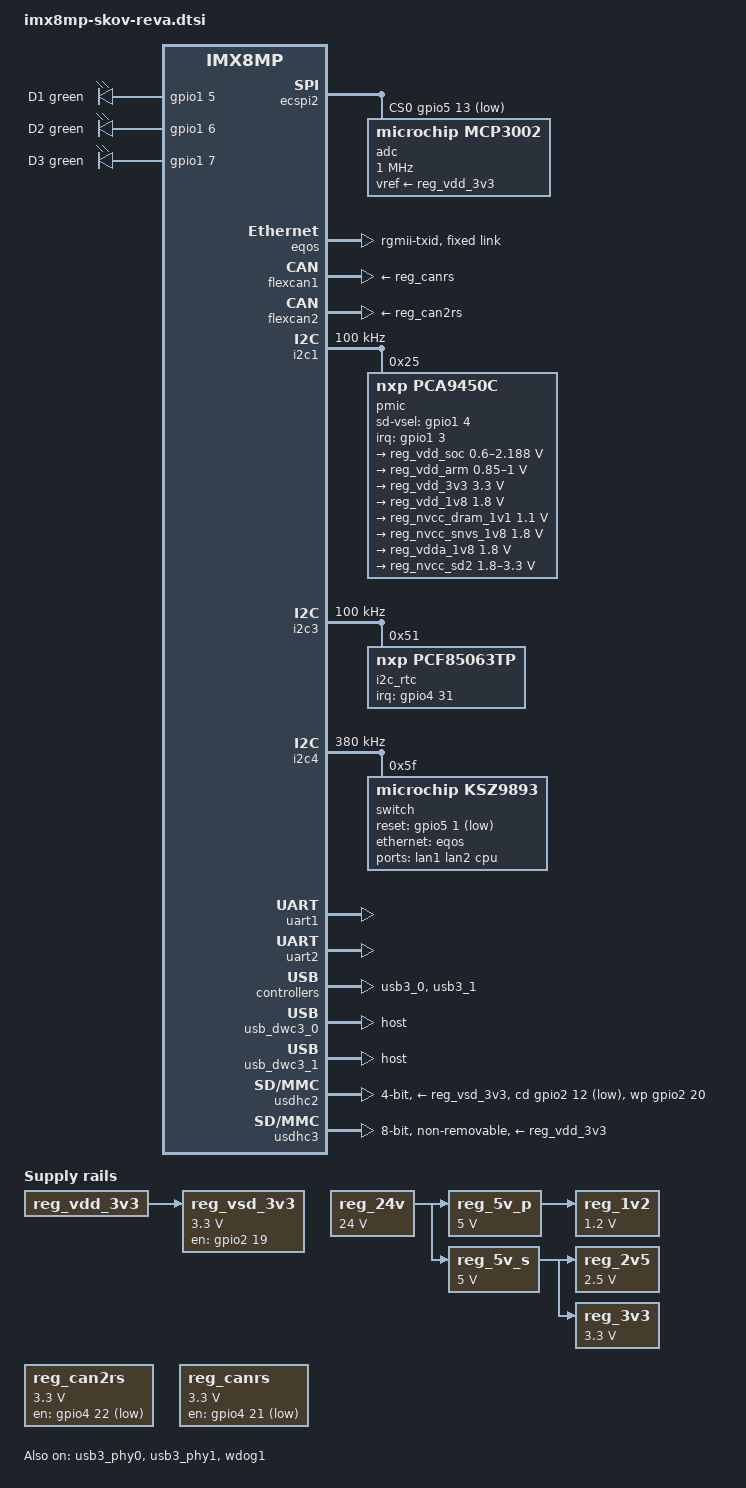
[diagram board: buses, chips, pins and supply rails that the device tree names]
// SPDX-License-Identifier: (GPL-2.0 OR MIT)

#include "imx8mp.dtsi"

#include <dt-bindings/leds/common.h>

/ {
	aliases {
		/* some of this aliases like backlight0, ethernetX and switch0
		 * are needed for the bootloader.
		 */
		backlight0 = &backlight;
		ethernet0 = &eqos;
		ethernet1 = &lan1;
		ethernet2 = &lan2;
		rtc0 = &i2c_rtc;
		rtc1 = &snvs_rtc;
		switch0 = &switch;
	};

	/*
	 * Backlight is present only on some of boards, so it is disabled by
	 * default.
	 */
	backlight: backlight {
		compatible = "pwm-backlight";
		pinctrl-0 = <&pinctrl_backlight>;
		pwms = <&pwm1 0 20000 0>;
		power-supply = <&reg_24v>;
		enable-gpios = <&gpio4 24 GPIO_ACTIVE_HIGH>;
		brightness-levels = <0 255>;
		num-interpolated-steps = <17>;
		default-brightness-level = <8>;
		status = "disabled";
	};

	leds {
		compatible = "gpio-leds";
		pinctrl-names = "default";
		pinctrl-0 = <&pinctrl_gpio_led>;

		led-0 {
			label = "D1";
			color = <LED_COLOR_ID_GREEN>;
			gpios = <&gpio1 5 GPIO_ACTIVE_HIGH>;
			function = LED_FUNCTION_STATUS;
			default-state = "on";
			linux,default-trigger = "heartbeat";
		};

		led-1 {
			label = "D2";
			color = <LED_COLOR_ID_GREEN>;
			gpios = <&gpio1 6 GPIO_ACTIVE_HIGH>;
			default-state = "off";
		};

		led-2 {
			label = "D3";
			color = <LED_COLOR_ID_GREEN>;
			gpios = <&gpio1 7 GPIO_ACTIVE_HIGH>;
			default-state = "on";
		};
	};

	reg_1v2: regulator-1v2 {
		compatible = "regulator-fixed";
		vin-supply = <&reg_5v_p>;
		regulator-name = "1V2";
		regulator-min-microvolt = <1200000>;
		regulator-max-microvolt = <1200000>;
	};

	reg_2v5: regulator-2v5 {
		compatible = "regulator-fixed";
		vin-supply = <&reg_5v_s>;
		regulator-name = "2V5";
		regulator-min-microvolt = <2500000>;
		regulator-max-microvolt = <2500000>;
	};

	reg_3v3: regulator-3v3 {
		compatible = "regulator-fixed";
		vin-supply = <&reg_5v_s>;
		regulator-name = "3V3";
		regulator-min-microvolt = <3300000>;
		regulator-max-microvolt = <3300000>;
	};

	/*
	 * This regulator will provide power as long as possible even if
	 * undervoltage is detected.
	 */
	reg_5v_p: regulator-5v-p {
		compatible = "regulator-fixed";
		regulator-name = "5V_P";
		vin-supply = <&reg_24v>;
		regulator-min-microvolt = <5000000>;
		regulator-max-microvolt = <5000000>;
	};

	/*
	 * This regulator will be automatically shutdown if undervoltage is
	 * detected.
	 */
	reg_5v_s: regulator-5v-s {
		compatible = "regulator-fixed";
		regulator-name = "5V_S";
		vin-supply = <&reg_24v>;
		regulator-min-microvolt = <5000000>;
		regulator-max-microvolt = <5000000>;
	};

	reg_24v: regulator-24v {
		compatible = "regulator-fixed";
		regulator-name = "24V";
		regulator-min-microvolt = <24000000>;
		regulator-max-microvolt = <24000000>;
	};

	reg_can2rs: regulator-can2rs {
		compatible = "regulator-fixed";
		regulator-name = "CAN2RS";
		pinctrl-names = "default";
		pinctrl-0 = <&pinctrl_can2rs>;
		regulator-min-microvolt = <3300000>;
		regulator-max-microvolt = <3300000>;
		gpio = <&gpio4 22 GPIO_ACTIVE_LOW>;
	};

	reg_canrs: regulator-canrs {
		compatible = "regulator-fixed";
		regulator-name = "CANRS";
		pinctrl-names = "default";
		pinctrl-0 = <&pinctrl_canrs>;
		regulator-min-microvolt = <3300000>;
		regulator-max-microvolt = <3300000>;
		gpio = <&gpio4 21 GPIO_ACTIVE_LOW>;
	};

	reg_tft_vcom: regulator-tft-vcom {
		compatible = "pwm-regulator";
		pwms = <&pwm4 0 20000 0>;
		regulator-name = "VCOM";
		vin-supply = <&reg_5v_s>;
		regulator-min-microvolt = <3600000>;
		regulator-max-microvolt = <3600000>;
		regulator-always-on;
		voltage-table = <3600000 26>;
		status = "disabled";
	};

	reg_vsd_3v3: regulator-vsd-3v3 {
		pinctrl-names = "default";
		pinctrl-0 = <&pinctrl_reg_vsd_3v3>;
		vin-supply = <&reg_vdd_3v3>;
		compatible = "regulator-fixed";
		regulator-name = "VSD_3V3";
		regulator-min-microvolt = <3300000>;
		regulator-max-microvolt = <3300000>;
		gpio = <&gpio2 19 GPIO_ACTIVE_HIGH>;
		enable-active-high;
	};
};

&A53_0 {
	cpu-supply = <&reg_vdd_arm>;
};

&A53_1 {
	cpu-supply = <&reg_vdd_arm>;
};

&A53_2 {
	cpu-supply = <&reg_vdd_arm>;
};

&A53_3 {
	cpu-supply = <&reg_vdd_arm>;
};

&ecspi2 {
	pinctrl-names = "default";
	pinctrl-0 = <&pinctrl_ecspi2>;
	cs-gpios = <&gpio5 13 GPIO_ACTIVE_LOW>;
	status = "okay";

	adc: adc@0 {
		compatible = "microchip,mcp3002";
		reg = <0>;
		vref-supply = <&reg_vdd_3v3>;
		spi-max-frequency = <1000000>;
		#io-channel-cells = <1>;
	};
};

&eqos {
	pinctrl-names = "default";
	pinctrl-0 = <&pinctrl_eqos>;
	phy-mode = "rgmii-txid";
	status = "okay";

	fixed-link {
		speed = <1000>;
		full-duplex;
	};
};

&flexcan1 {
	pinctrl-names = "default";
	pinctrl-0 = <&pinctrl_flexcan1>;
	xceiver-supply = <&reg_canrs>;
	status = "okay";
};

&flexcan2 {
	pinctrl-names = "default";
	pinctrl-0 = <&pinctrl_flexcan2>;
	xceiver-supply = <&reg_can2rs>;
	status = "okay";
};

&i2c1 {
	clock-frequency = <100000>;
	pinctrl-names = "default";
	pinctrl-0 = <&pinctrl_i2c1>;
	status = "okay";

	pmic@25 {
		compatible = "nxp,pca9450c";
		reg = <0x25>;
		pinctrl-names = "default";
		pinctrl-0 = <&pinctrl_pmic>;
		interrupts-extended = <&gpio1 3 IRQ_TYPE_EDGE_RISING>;
		sd-vsel-gpios = <&gpio1 4 GPIO_ACTIVE_HIGH>;

		regulators {
			reg_vdd_soc: BUCK1 {
				regulator-name = "VDD_SOC";
				regulator-min-microvolt = <600000>;
				regulator-max-microvolt = <2187500>;
				vin-supply = <&reg_5v_p>;
				regulator-boot-on;
				regulator-always-on;
				regulator-ramp-delay = <3125>;
			};

			reg_vdd_arm: BUCK2 {
				regulator-name = "VDD_ARM";
				regulator-min-microvolt = <850000>;
				regulator-max-microvolt = <1000000>;
				vin-supply = <&reg_5v_p>;
				regulator-boot-on;
				regulator-always-on;
				regulator-ramp-delay = <3125>;
				nxp,dvs-run-voltage = <950000>;
				nxp,dvs-standby-voltage = <850000>;
			};

			reg_vdd_3v3: BUCK4 {
				regulator-name = "VDD_3V3";
				regulator-min-microvolt = <3300000>;
				regulator-max-microvolt = <3300000>;
				vin-supply = <&reg_5v_p>;
				regulator-boot-on;
				regulator-always-on;
			};

			reg_vdd_1v8: BUCK5 {
				regulator-name = "VDD_1V8";
				regulator-min-microvolt = <1800000>;
				regulator-max-microvolt = <1800000>;
				vin-supply = <&reg_5v_p>;
				regulator-boot-on;
				regulator-always-on;
			};

			reg_nvcc_dram_1v1: BUCK6 {
				regulator-name = "NVCC_DRAM_1V1";
				regulator-min-microvolt = <1100000>;
				regulator-max-microvolt = <1100000>;
				vin-supply = <&reg_5v_p>;
				regulator-boot-on;
				regulator-always-on;
			};

			reg_nvcc_snvs_1v8: LDO1 {
				regulator-name = "NVCC_SNVS_1V8";
				regulator-min-microvolt = <1800000>;
				regulator-max-microvolt = <1800000>;
				vin-supply = <&reg_5v_p>;
				regulator-boot-on;
				regulator-always-on;
			};

			reg_vdda_1v8: LDO3 {
				regulator-name = "VDDA_1V8";
				regulator-min-microvolt = <1800000>;
				regulator-max-microvolt = <1800000>;
				vin-supply = <&reg_5v_p>;
				regulator-boot-on;
				regulator-always-on;
			};

			reg_nvcc_sd2: LDO5 {
				regulator-name = "NVCC_SD2";
				regulator-min-microvolt = <1800000>;
				regulator-max-microvolt = <3300000>;
				vin-supply = <&reg_5v_p>;
				regulator-boot-on;
				regulator-always-on;
			};
		};
	};
};

&i2c3 {
	clock-frequency = <100000>;
	pinctrl-names = "default";
	pinctrl-0 = <&pinctrl_i2c3>;
	status = "okay";

	i2c_rtc: rtc@51 {
		compatible = "nxp,pcf85063tp";
		reg = <0x51>;
		pinctrl-names = "default";
		pinctrl-0 = <&pinctrl_rtc>;
		interrupts-extended = <&gpio4 31 IRQ_TYPE_EDGE_FALLING>;
		quartz-load-femtofarads = <12500>;
	};
};

&i2c4 {
	clock-frequency = <380000>;
	pinctrl-names = "default";
	pinctrl-0 = <&pinctrl_i2c4>;
	status = "okay";

	switch: switch@5f {
		compatible = "microchip,ksz9893";
		pinctrl-names = "default";
		pinctrl-0 = <&pinctrl_switch>;
		reset-gpios = <&gpio5 1 GPIO_ACTIVE_LOW>;
		reg = <0x5f>;

		ethernet-ports {
			#address-cells = <1>;
			#size-cells = <0>;

			lan1: port@0 {
				reg = <0>;
				phy-mode = "internal";
				label = "lan1";
			};

			lan2: port@1 {
				reg = <1>;
				phy-mode = "internal";
				label = "lan2";
			};

			port@2 {
				reg = <2>;
				label = "cpu";
				ethernet = <&eqos>;
				phy-mode = "rgmii";
				/* 2ns RX delay is implemented on PCB */
				tx-internal-delay-ps = <2000>;
				rx-internal-delay-ps = <0>;

				fixed-link {
					speed = <1000>;
					full-duplex;
				};
			};
		};
	};
};

&pwm1 {
	pinctrl-names = "default";
	pinctrl-0 = <&pinctrl_pwm1>;
};

&pwm4 {
	pinctrl-names = "default";
	pinctrl-0 = <&pinctrl_pwm4>;
};

&uart1 {
	pinctrl-names = "default";
	pinctrl-0 = <&pinctrl_uart1>;
	status = "okay";
};

&uart2 {
	/* console */
	pinctrl-names = "default";
	pinctrl-0 = <&pinctrl_uart2>;
	status = "okay";
};

&usb3_0 {
	status = "okay";
};

&usb3_1 {
	status = "okay";
};

&usb3_phy0 {
	vbus-supply = <&reg_3v3>;
	status = "okay";
};

&usb3_phy1 {
	vbus-supply = <&reg_3v3>;
	status = "okay";
};

&usb_dwc3_0 {
	dr_mode = "host";
};

&usb_dwc3_1 {
	dr_mode = "host";
};

/* SD Card */
&usdhc2 {
	pinctrl-names = "default", "state_100mhz", "state_200mhz";
	pinctrl-0 = <&pinctrl_usdhc2>, <&pinctrl_usdhc2_gpio>;
	pinctrl-1 = <&pinctrl_usdhc2_100mhz>, <&pinctrl_usdhc2_gpio>;
	pinctrl-2 = <&pinctrl_usdhc2_200mhz>, <&pinctrl_usdhc2_gpio>;
	vmmc-supply = <&reg_vsd_3v3>;
	vqmmc-supply = <&reg_nvcc_sd2>;
	cd-gpios = <&gpio2 12 GPIO_ACTIVE_LOW>;
	wp-gpios = <&gpio2 20 GPIO_ACTIVE_HIGH>;
	bus-width = <4>;
	status = "okay";
};

/* eMMC */
&usdhc3 {
	assigned-clocks = <&clk IMX8MP_CLK_USDHC3>;
	assigned-clock-rates = <400000000>;
	pinctrl-names = "default", "state_100mhz", "state_200mhz";
	pinctrl-0 = <&pinctrl_usdhc3>;
	pinctrl-1 = <&pinctrl_usdhc3_100mhz>;
	pinctrl-2 = <&pinctrl_usdhc3_200mhz>;
	vmmc-supply = <&reg_vdd_3v3>;
	vqmmc-supply = <&reg_vdd_1v8>;
	bus-width = <8>;
	no-sd;
	no-sdio;
	non-removable;
	status = "okay";
};

&wdog1 {
	pinctrl-names = "default";
	pinctrl-0 = <&pinctrl_wdog>;
	fsl,ext-reset-output;
	status = "okay";
};

&iomuxc {
	pinctrl_backlight: backlightgrp {
		fsl,pins = <
			MX8MP_IOMUXC_SAI2_TXFS__GPIO4_IO24			0x0100
		>;
	};

	pinctrl_can2rs: can2rsgrp {
		fsl,pins = <
			MX8MP_IOMUXC_SAI2_RXC__GPIO4_IO22			0x154
		>;
	};

	pinctrl_canrs: canrsgrp {
		fsl,pins = <
			MX8MP_IOMUXC_SAI2_RXFS__GPIO4_IO21			0x154
		>;
	};

	pinctrl_ecspi2: ecspi2grp {
		fsl,pins = <
			MX8MP_IOMUXC_ECSPI2_SCLK__ECSPI2_SCLK			0x44
			MX8MP_IOMUXC_ECSPI2_MOSI__ECSPI2_MOSI			0x44
			MX8MP_IOMUXC_ECSPI2_MISO__ECSPI2_MISO			0x44
			MX8MP_IOMUXC_ECSPI2_SS0__GPIO5_IO13			0x40
		>;
	};

	pinctrl_eqos: eqosgrp {
		fsl,pins = <
			MX8MP_IOMUXC_ENET_RD0__ENET_QOS_RGMII_RD0			0x91
			MX8MP_IOMUXC_ENET_RD1__ENET_QOS_RGMII_RD1			0x91
			MX8MP_IOMUXC_ENET_RD2__ENET_QOS_RGMII_RD2			0x91
			MX8MP_IOMUXC_ENET_RD3__ENET_QOS_RGMII_RD3			0x91
			MX8MP_IOMUXC_ENET_RXC__CCM_ENET_QOS_CLOCK_GENERATE_RX_CLK	0x91
			MX8MP_IOMUXC_ENET_RX_CTL__ENET_QOS_RGMII_RX_CTL			0x91
			MX8MP_IOMUXC_ENET_TD0__ENET_QOS_RGMII_TD0			0x1f
			MX8MP_IOMUXC_ENET_TD1__ENET_QOS_RGMII_TD1			0x1f
			MX8MP_IOMUXC_ENET_TD2__ENET_QOS_RGMII_TD2			0x1f
			MX8MP_IOMUXC_ENET_TD3__ENET_QOS_RGMII_TD3			0x1f
			MX8MP_IOMUXC_ENET_TX_CTL__ENET_QOS_RGMII_TX_CTL			0x1f
			MX8MP_IOMUXC_ENET_TXC__CCM_ENET_QOS_CLOCK_GENERATE_TX_CLK	0x1f
		>;
	};

	pinctrl_flexcan1: flexcan1grp {
		fsl,pins = <
			MX8MP_IOMUXC_SPDIF_RX__CAN1_RX				0x154
			MX8MP_IOMUXC_SPDIF_TX__CAN1_TX				0x154
		>;
	};

	pinctrl_flexcan2: flexcan2grp {
		fsl,pins = <
			MX8MP_IOMUXC_SAI2_MCLK__CAN2_RX				0x154
			MX8MP_IOMUXC_SAI2_TXD0__CAN2_TX				0x154
		>;
	};

	pinctrl_gpio_led: gpioledgrp {
		fsl,pins = <
			MX8MP_IOMUXC_GPIO1_IO05__GPIO1_IO05			0x19
			MX8MP_IOMUXC_GPIO1_IO06__GPIO1_IO06			0x19
			MX8MP_IOMUXC_GPIO1_IO07__GPIO1_IO07			0x19
		>;
	};

	pinctrl_i2c1: i2c1grp {
		fsl,pins = <
			MX8MP_IOMUXC_I2C1_SCL__I2C1_SCL				0x400001c2
			MX8MP_IOMUXC_I2C1_SDA__I2C1_SDA				0x400001c2
		>;
	};

	pinctrl_i2c3: i2c3grp {
		fsl,pins = <
			MX8MP_IOMUXC_I2C3_SCL__I2C3_SCL				0x400001c2
			MX8MP_IOMUXC_I2C3_SDA__I2C3_SDA				0x400001c2
		>;
	};

	pinctrl_i2c4: i2c4grp {
		fsl,pins = <
			MX8MP_IOMUXC_I2C4_SCL__I2C4_SCL				0x400001c3
			MX8MP_IOMUXC_I2C4_SDA__I2C4_SDA				0x400001c3
		>;
	};

	pinctrl_pmic: pmicirqgrp {
		fsl,pins = <
			MX8MP_IOMUXC_GPIO1_IO03__GPIO1_IO03			0x41
			MX8MP_IOMUXC_GPIO1_IO04__GPIO1_IO04			0x41
		>;
	};

	pinctrl_pwm1: pwm1grp {
		fsl,pins = <
			MX8MP_IOMUXC_SPDIF_EXT_CLK__PWM1_OUT			0x116
		>;
	};

	pinctrl_pwm4: pwm4grp {
		fsl,pins = <
			MX8MP_IOMUXC_SAI3_MCLK__PWM4_OUT			0x116
		>;
	};

	pinctrl_reg_vsd_3v3: regvsd3v3grp {
		fsl,pins = <
			MX8MP_IOMUXC_SD2_RESET_B__GPIO2_IO19	0x40
		>;
	};

	pinctrl_rtc: rtcgrp {
		fsl,pins = <
			MX8MP_IOMUXC_SAI3_TXFS__GPIO4_IO31			0x41
		>;
	};

	pinctrl_switch: switchgrp {
		fsl,pins = <
			MX8MP_IOMUXC_SAI3_TXC__GPIO5_IO00			0x41
			MX8MP_IOMUXC_SAI3_TXD__GPIO5_IO01			0x41
		>;
	};

	pinctrl_touchscreen: touchscreengrp {
		fsl,pins = <
			/* external 10 k pull up */
			/* CTP_INT */
			MX8MP_IOMUXC_SAI3_RXFS__GPIO4_IO28			0x41
			/* CTP_RST */
			MX8MP_IOMUXC_SAI3_RXC__GPIO4_IO29			0x41
		>;
	};

	pinctrl_uart1: uart1grp {
		fsl,pins = <
			MX8MP_IOMUXC_UART1_RXD__UART1_DCE_RX			0x140
			MX8MP_IOMUXC_UART1_TXD__UART1_DCE_TX			0x140
			MX8MP_IOMUXC_UART3_RXD__UART1_DTE_RTS			0x140
		>;
	};

	pinctrl_uart2: uart2grp {
		fsl,pins = <
			MX8MP_IOMUXC_UART2_RXD__UART2_DCE_RX			0x14f
			MX8MP_IOMUXC_UART2_TXD__UART2_DCE_TX			0x14f
		>;
	};

	pinctrl_usdhc2: usdhc2grp {
		fsl,pins = <
			MX8MP_IOMUXC_SD2_CLK__USDHC2_CLK			0x190
			MX8MP_IOMUXC_SD2_CMD__USDHC2_CMD			0x1d0
			MX8MP_IOMUXC_SD2_DATA0__USDHC2_DATA0			0x1d0
			MX8MP_IOMUXC_SD2_DATA1__USDHC2_DATA1			0x1d0
			MX8MP_IOMUXC_SD2_DATA2__USDHC2_DATA2			0x1d0
			MX8MP_IOMUXC_SD2_DATA3__USDHC2_DATA3			0x1d0
		>;
	};

	pinctrl_usdhc2_100mhz: usdhc2-100mhzgrp {
		fsl,pins = <
			MX8MP_IOMUXC_SD2_CLK__USDHC2_CLK			0x194
			MX8MP_IOMUXC_SD2_CMD__USDHC2_CMD			0x1d4
			MX8MP_IOMUXC_SD2_DATA0__USDHC2_DATA0			0x1d4
			MX8MP_IOMUXC_SD2_DATA1__USDHC2_DATA1			0x1d4
			MX8MP_IOMUXC_SD2_DATA2__USDHC2_DATA2			0x1d4
			MX8MP_IOMUXC_SD2_DATA3__USDHC2_DATA3			0x1d4
		>;
	};

	pinctrl_usdhc2_200mhz: usdhc2-200mhzgrp {
		fsl,pins = <
			MX8MP_IOMUXC_SD2_CLK__USDHC2_CLK			0x196
			MX8MP_IOMUXC_SD2_CMD__USDHC2_CMD			0x1d6
			MX8MP_IOMUXC_SD2_DATA0__USDHC2_DATA0			0x1d6
			MX8MP_IOMUXC_SD2_DATA1__USDHC2_DATA1			0x1d6
			MX8MP_IOMUXC_SD2_DATA2__USDHC2_DATA2			0x1d6
			MX8MP_IOMUXC_SD2_DATA3__USDHC2_DATA3			0x1d6
		>;
	};

	pinctrl_usdhc2_gpio: usdhc2gpiogrp {
		fsl,pins = <
			MX8MP_IOMUXC_SD2_CD_B__GPIO2_IO12			0x1c4
			MX8MP_IOMUXC_SD2_WP__GPIO2_IO20				0x1c4
		>;
	};

	pinctrl_usdhc3: usdhc3grp {
		fsl,pins = <
			MX8MP_IOMUXC_NAND_WE_B__USDHC3_CLK			0x190
			MX8MP_IOMUXC_NAND_WP_B__USDHC3_CMD			0x1d0
			MX8MP_IOMUXC_NAND_DATA04__USDHC3_DATA0			0x1d0
			MX8MP_IOMUXC_NAND_DATA05__USDHC3_DATA1			0x1d0
			MX8MP_IOMUXC_NAND_DATA06__USDHC3_DATA2			0x1d0
			MX8MP_IOMUXC_NAND_DATA07__USDHC3_DATA3			0x1d0
			MX8MP_IOMUXC_NAND_RE_B__USDHC3_DATA4			0x1d0
			MX8MP_IOMUXC_NAND_CE2_B__USDHC3_DATA5			0x1d0
			MX8MP_IOMUXC_NAND_CE3_B__USDHC3_DATA6			0x1d0
			MX8MP_IOMUXC_NAND_CLE__USDHC3_DATA7			0x1d0
			MX8MP_IOMUXC_NAND_CE1_B__USDHC3_STROBE			0x190
		>;
	};

	pinctrl_usdhc3_100mhz: usdhc3-100mhzgrp {
		fsl,pins = <
			MX8MP_IOMUXC_NAND_WE_B__USDHC3_CLK			0x194
			MX8MP_IOMUXC_NAND_WP_B__USDHC3_CMD			0x1d4
			MX8MP_IOMUXC_NAND_DATA04__USDHC3_DATA0			0x1d4
			MX8MP_IOMUXC_NAND_DATA05__USDHC3_DATA1			0x1d4
			MX8MP_IOMUXC_NAND_DATA06__USDHC3_DATA2			0x1d4
			MX8MP_IOMUXC_NAND_DATA07__USDHC3_DATA3			0x1d4
			MX8MP_IOMUXC_NAND_RE_B__USDHC3_DATA4			0x1d4
			MX8MP_IOMUXC_NAND_CE2_B__USDHC3_DATA5			0x1d4
			MX8MP_IOMUXC_NAND_CE3_B__USDHC3_DATA6			0x1d4
			MX8MP_IOMUXC_NAND_CLE__USDHC3_DATA7			0x1d4
			MX8MP_IOMUXC_NAND_CE1_B__USDHC3_STROBE			0x194
		>;
	};

	pinctrl_usdhc3_200mhz: usdhc3-200mhzgrp {
		fsl,pins = <
			MX8MP_IOMUXC_NAND_WE_B__USDHC3_CLK			0x196
			MX8MP_IOMUXC_NAND_WP_B__USDHC3_CMD			0x1d6
			MX8MP_IOMUXC_NAND_DATA04__USDHC3_DATA0			0x1d6
			MX8MP_IOMUXC_NAND_DATA05__USDHC3_DATA1			0x1d6
			MX8MP_IOMUXC_NAND_DATA06__USDHC3_DATA2			0x1d6
			MX8MP_IOMUXC_NAND_DATA07__USDHC3_DATA3			0x1d6
			MX8MP_IOMUXC_NAND_RE_B__USDHC3_DATA4			0x1d6
			MX8MP_IOMUXC_NAND_CE2_B__USDHC3_DATA5			0x1d6
			MX8MP_IOMUXC_NAND_CE3_B__USDHC3_DATA6			0x1d6
			MX8MP_IOMUXC_NAND_CLE__USDHC3_DATA7			0x1d6
			MX8MP_IOMUXC_NAND_CE1_B__USDHC3_STROBE			0x196
		>;
	};

	pinctrl_wdog: wdoggrp {
		fsl,pins = <
			MX8MP_IOMUXC_GPIO1_IO02__WDOG1_WDOG_B			0xc6
		>;
	};
};
